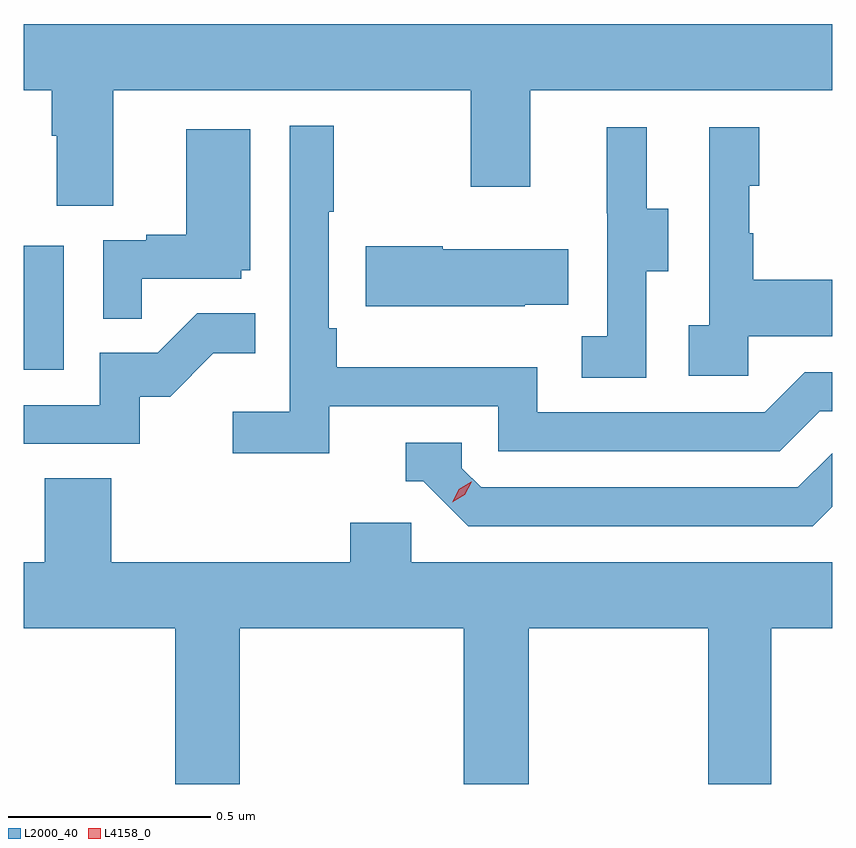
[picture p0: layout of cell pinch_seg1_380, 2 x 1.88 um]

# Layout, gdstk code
import gdstk
lib = gdstk.Library(unit=1e-6, precision=1e-09)
def R(c, l, rs):  # rectangles x0, y0, x1, y1
    for r in rs: c.add(gdstk.rectangle(r[:2], r[2:], *l))
def P(c, l, *ps):  # polygons
    for p in ps: c.add(gdstk.Polygon(p, *l))
L2000_40 = (2000, 40)
L4158_0 = (4158, 0)

pinch_seg1_380 = lib.new_cell('pinch_seg1_380')
R(pinch_seg1_380, L2000_40, [(965.918,531.06,966.016,531.367)])
P(pinch_seg1_380, L2000_40, [(966.139,531.752),(967.024,531.752),(967.024,531.513),(967.171,531.513),(967.171,531.752),(967.918,531.752),(967.918,531.916),(965.918,531.916),(965.918,531.752),(965.987,531.752),(965.987,531.64),(965.999,531.64),(965.999,531.466),(966.139,531.466)],
  [(966.674,530.97),(967.092,530.97),(967.092,530.859),(967.789,530.859),(967.888,530.958),(967.918,530.958),(967.918,531.054),(967.851,531.054),(967.752,530.955),(967.188,530.955),(967.188,531.067),(966.692,531.067),(966.692,531.163),(966.672,531.163),(966.672,531.451),(966.685,531.451),(966.685,531.664),(966.576,531.664),(966.576,530.956),(966.435,530.956),(966.435,530.854),(966.674,530.854)],
  [(967.71,531.143),(967.918,531.143),(967.918,531.283),(967.723,531.283),(967.723,531.398),(967.713,531.398),(967.713,531.516),(967.738,531.516),(967.738,531.661),(967.614,531.661),(967.614,531.17),(967.563,531.17),(967.563,531.045),(967.71,531.045)],
  [(967.458,531.304),(967.513,531.304),(967.513,531.459),(967.459,531.459),(967.459,531.661),(967.361,531.661),(967.361,531.447),(967.362,531.447),(967.362,531.143),(967.299,531.143),(967.299,531.04),(967.458,531.04)],
  [(966.209,531.285),(966.456,531.285),(966.456,531.306),(966.478,531.306),(966.478,531.655),(966.32,531.655),(966.32,531.394),(966.221,531.394),(966.221,531.381),(966.114,531.381),(966.114,531.187),(966.209,531.187)],
  [(967.157,531.221),(967.265,531.221),(967.265,531.358),(966.955,531.358),(966.955,531.366),(966.764,531.366),(966.764,531.218),(967.157,531.218)],
  [(966.204,530.994),(966.28,530.994),(966.387,531.101),(966.491,531.101),(966.491,531.2),(966.347,531.2),(966.249,531.102),(966.105,531.102),(966.105,530.973),(965.918,530.973),(965.918,530.877),(966.204,530.877)],
  [(967.918,530.721),(967.918,530.854),(967.833,530.769),(967.05,530.769),(967.002,530.817),(967.002,530.88),(966.863,530.88),(966.863,530.784),(966.906,530.784),(967.017,530.673),(967.87,530.673)],
  [(966.876,530.682),(966.725,530.682),(966.725,530.584),(966.134,530.584),(966.134,530.792),(965.969,530.792),(965.969,530.584),(965.918,530.584),(965.918,530.42),(966.292,530.42),(966.292,530.035),(966.452,530.035),(966.452,530.42),(967.007,530.42),(967.007,530.035),(967.167,530.035),(967.167,530.42),(967.612,530.42),(967.612,530.035),(967.767,530.035),(967.767,530.42),(967.918,530.42),(967.918,530.584),(966.876,530.584)])
P(pinch_seg1_380, L4158_0, [(966.978,530.732),(966.978,530.732),(966.994,530.765),(967.025,530.783),(967.026,530.783),(967.026,530.783),(967.009,530.751),(966.978,530.732)])

lib.write_gds('pinch_seg1_380.gds')
